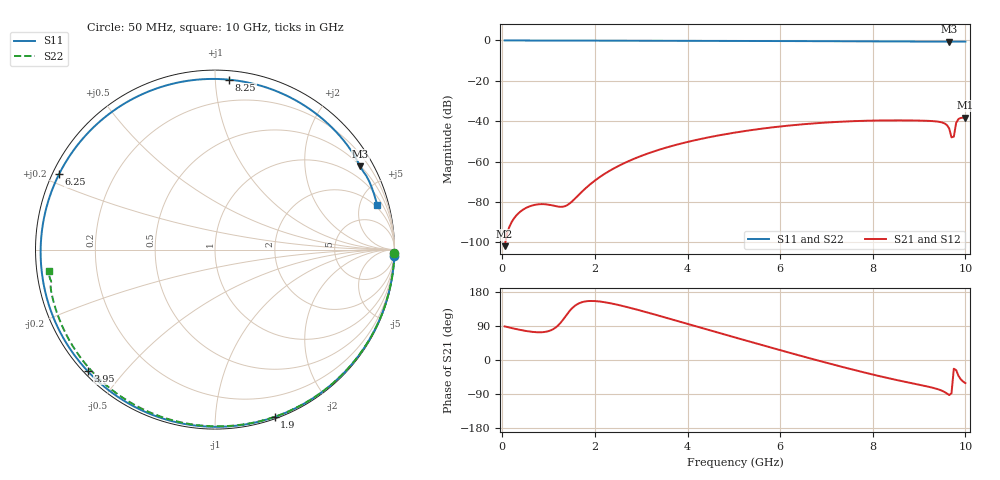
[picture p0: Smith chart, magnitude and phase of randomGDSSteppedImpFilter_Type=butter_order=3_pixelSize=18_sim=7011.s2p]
! freq	dB(S11)	phase(S11)	dB(S12)	phase(S12)
!  dB(S21)	phase(S21)	dB(S22)	phase(S22)
!S-par simulation data
#  GHz  S  DB  R 50
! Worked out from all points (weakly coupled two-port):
!   200 points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, 50 MHz to 10 GHz, reference 50 ohm
!   highest |S21| = -38.19 dB at 10 GHz (marker M1); lowest = -101.9 dB at 50 MHz (marker M2)
!   lowest |S11| = -0.6 dB at 9.65 GHz (marker M3), VSWR 28.57, Z = 26 + j184 ohm
!   |S11| at or under -10 dB: nowhere
!   |S22| runs from -0.6 to 0.0 dB; largest |S21 - S12| = 0
!   S11 on the Smith chart (normalised r, x): 50 MHz: 0, -59; 1.9 GHz: 0.02, -1.42; 3.95 GHz: 0.01, -0.40; 6.25 GHz: 0.02, +0.23; 8.25 GHz: 0.06, +1.08; 10 GHz: 1.72, +7.00
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0.05  -0.00 -1.9  -101.91 88.7  -101.91 88.7  -0.00 -1.0
0.75  -0.04 -28.6  -81.25 73.3  -81.25 73.3  -0.02 -14.7
1.5  -0.07 -56.3  -79.89 135.7  -79.89 135.7  -0.04 -29.1
1.75  -0.08 -65.2  -74.27 153.5  -74.27 153.5  -0.04 -33.8
1.9  -0.09 -70.4  -71.22 155.7  -71.22 155.7  -0.05 -36.7
2.55  -0.11 -92.4  -61.70 144.0  -61.70 144.0  -0.06 -48.7
3.4  -0.15 -119.5  -54.04 116.3  -54.04 116.3  -0.08 -64.1
3.95  -0.17 -136.4  -50.55 97.0  -50.55 97.0  -0.10 -73.7
5.05  -0.23 -169.2  -45.54 58.7  -45.54 58.7  -0.14 -92.4
6.25  -0.31 154.2  -42.03 17.5  -42.03 17.5  -0.20 -111.9
6.7  -0.34 139.8  -41.14 2.5  -41.14 2.5  -0.23 -119.1
7.55  -0.40 110.9  -40.00 -24.8  -40.00 -24.8  -0.30 -132.5
8.25  -0.45 85.3  -39.61 -45.6  -39.61 -45.6  -0.36 -143.6
8.35  -0.45 81.5  -39.59 -48.3  -39.59 -48.3  -0.37 -145.2
9.4  -0.54 39.9  -40.19 -76.9  -40.19 -76.9  -0.49 -162.5
9.55  -0.57 33.8  -41.10 -84.4  -41.10 -84.4  -0.51 -165.1
9.65  -0.61 29.8  -43.61 -92.4  -43.61 -92.4  -0.54 -166.9
9.7  -0.60 28.1  -47.99 -87.9  -47.99 -87.9  -0.57 -167.9
9.75  -0.56 26.1  -47.66 -23.1  -47.66 -23.1  -0.62 -168.7
9.8  -0.54 23.9  -40.85 -26.5  -40.85 -26.5  -0.63 -169.1
9.85  -0.54 21.7  -38.90 -41.5  -38.90 -41.5  -0.60 -169.9
10  -0.57 15.4  -38.19 -60.9  -38.19 -60.9  -0.59 -172.6
